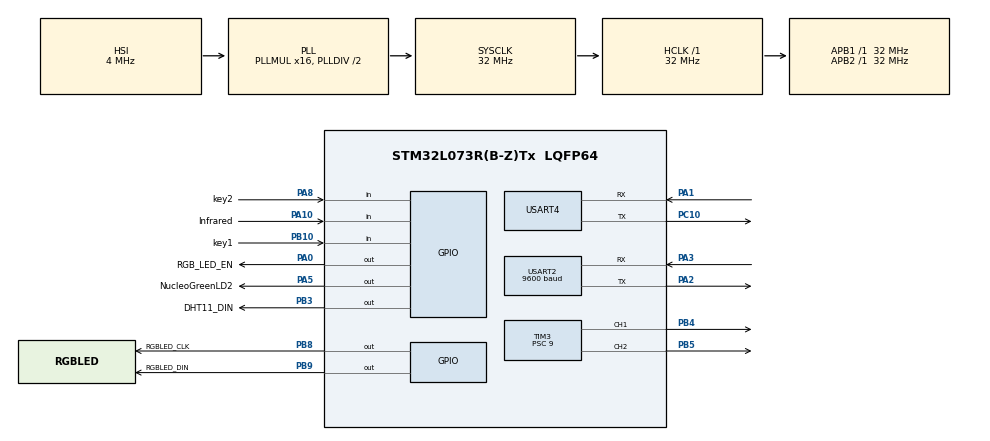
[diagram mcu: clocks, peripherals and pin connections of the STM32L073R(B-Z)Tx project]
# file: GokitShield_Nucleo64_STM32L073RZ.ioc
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Mcu.Family=STM32L0
Mcu.Name=STM32L073R(B-Z)Tx
Mcu.Package=LQFP64
NVIC.TIM6_DAC_IRQn=true\:3\:0\:true\:false\:true
NVIC.TIM7_IRQn=true\:3\:0\:true\:false\:true
NVIC.USART2_IRQn=true\:0\:0\:false\:false\:true
PA0.GPIO_Label=RGB_LED_EN
PA0.GPIO_Speed=GPIO_SPEED_FREQ_VERY_HIGH
PA0.Signal=GPIO_Output
PA1.Mode=Asynchronous
PA1.Signal=USART4_RX
PA10.GPIO_Label=Infrared
PA10.Signal=GPIO_Input
PA13.Mode=Serial_Wire
PA13.Signal=SYS_SWDIO
PA14.Mode=Serial_Wire
PA14.Signal=SYS_SWCLK
PA2.Mode=Asynchronous
PA2.Signal=USART2_TX
PA3.Mode=Asynchronous
PA3.Signal=USART2_RX
PA5.GPIO_Label=NucleoGreenLD2
PA5.GPIO_Speed=GPIO_SPEED_FREQ_VERY_HIGH
PA5.PinState=GPIO_PIN_RESET
PA5.Signal=GPIO_Output
PA8.GPIO_Label=key2
PA8.GPIO_PuPd=GPIO_PULLUP
PA8.Signal=GPIO_Input
PB10.GPIO_Label=key1
PB10.GPIO_PuPd=GPIO_PULLUP
PB10.Signal=GPIO_Input
PB3.GPIO_Label=DHT11_DIN
PB3.GPIO_Speed=GPIO_SPEED_FREQ_VERY_HIGH
PB3.Signal=GPIO_Output
PB4.Signal=S_TIM3_CH1
PB5.Signal=S_TIM3_CH2
PB8.GPIO_FM8=I2C_FASTMODEPLUS_PB8
PB8.GPIO_Label=RGBLED_CLK
PB8.GPIO_Speed=GPIO_SPEED_FREQ_VERY_HIGH
PB8.Signal=GPIO_Output
PB9.GPIO_FM9=I2C_FASTMODEPLUS_PB9
PB9.GPIO_Label=RGBLED_DIN
PB9.GPIO_Speed=GPIO_SPEED_FREQ_VERY_HIGH
PB9.Signal=GPIO_Output
PC10.Mode=Asynchronous
PC10.Signal=USART4_TX
ProjectManager.HeapSize=0x800
ProjectManager.StackSize=0x3000
ProjectManager.TargetToolchain=EWARM
RCC.ADCFreq_Value=4000000
RCC.AHBFreq_Value=32000000
RCC.APB1Freq_Value=32000000
RCC.APB1TimFreq_Value=32000000
RCC.APB2Freq_Value=32000000
RCC.APB2TimFreq_Value=32000000
RCC.HCLKFreq_Value=32000000
RCC.HSE_VALUE=8000000
RCC.HSI16_VALUE=16000000
RCC.HSI48_VALUE=48000000
RCC.HSIRCDiv=4
RCC.HSI_VALUE=4000000
RCC.LSE_VALUE=32768
RCC.MSI_VALUE=2097000
RCC.PLLMUL=RCC_PLLMUL_16
RCC.SYSCLKFreq_VALUE=32000000
RCC.SYSCLKSource=RCC_SYSCLKSOURCE_PLLCLK
RCC.VCOOutputFreq_Value=64000000
SH.S_TIM3_CH1.0=TIM3_CH1,PWM Generation1 CH1
SH.S_TIM3_CH2.0=TIM3_CH2,PWM Generation2 CH2
TIM3.Channel-PWM\ Generation2\ CH2=TIM_CHANNEL_2
TIM3.OCFastMode_PWM-PWM\ Generation1\ CH1=TIM_OCFAST_ENABLE
TIM3.OCFastMode_PWM-PWM\ Generation2\ CH2=TIM_OCFAST_ENABLE
TIM3.Period=3199
TIM3.Prescaler=9
TIM3.Pulse-PWM\ Generation2\ CH2=500
TIM6.Period=999
TIM6.Prescaler=31
TIM7.Period=999
TIM7.Prescaler=31
USART2.BaudRate=9600
USART2.WordLength=UART_WORDLENGTH_8B
USART4.WordLength=UART_WORDLENGTH_8B
VP_TIM3_VS_ClockSourceINT.Mode=Internal
VP_TIM6_VS_ClockSourceINT.Mode=Enable_Timer
VP_TIM7_VS_ClockSourceINT.Mode=Enable_Timer
board=GokitShield_Nucleo64_STM32L073RZ

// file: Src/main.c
/**
  ******************************************************************************
  * File Name          : main.c
  * Description        : Main program body
  ******************************************************************************
  *
  * COPYRIGHT(c) 2016 STMicroelectronics
  *
  * Redistribution and use in source and binary forms, with or without modification,
  * are permitted provided that the following conditions are met:
  *   1. Redistributions of source code must retain the above copyright notice,
  *      this list of conditions and the following disclaimer.
  *   2. Redistributions in binary form must reproduce the above copyright notice,
  *      this list of conditions and the following disclaimer in the documentation
  *      and/or other materials provided with the distribution.
  *   3. Neither the name of STMicroelectronics nor the names of its contributors
  *      may be used to endorse or promote products derived from this software
  *      without specific prior written permission.
  *
  * THIS SOFTWARE IS PROVIDED BY THE COPYRIGHT HOLDERS AND CONTRIBUTORS "AS IS"
  * AND ANY EXPRESS OR IMPLIED WARRANTIES, INCLUDING, BUT NOT LIMITED TO, THE
  * IMPLIED WARRANTIES OF MERCHANTABILITY AND FITNESS FOR A PARTICULAR PURPOSE ARE
  * DISCLAIMED. IN NO EVENT SHALL THE COPYRIGHT HOLDER OR CONTRIBUTORS BE LIABLE
  * FOR ANY DIRECT, INDIRECT, INCIDENTAL, SPECIAL, EXEMPLARY, OR CONSEQUENTIAL
  * DAMAGES (INCLUDING, BUT NOT LIMITED TO, PROCUREMENT OF SUBSTITUTE GOODS OR
  * SERVICES; LOSS OF USE, DATA, OR PROFITS; OR BUSINESS INTERRUPTION) HOWEVER
  * CAUSED AND ON ANY THEORY OF LIABILITY, WHETHER IN CONTRACT, STRICT LIABILITY,
  * OR TORT (INCLUDING NEGLIGENCE OR OTHERWISE) ARISING IN ANY WAY OUT OF THE USE
  * OF THIS SOFTWARE, EVEN IF ADVISED OF THE POSSIBILITY OF SUCH DAMAGE.
  *
  ******************************************************************************
  */
#include "main.h"
#include "stm32l0xx_hal.h"
#include "tim.h"
#include "usart.h"
#include "gpio.h"

/* USER CODE BEGIN Includes */
//date:2016-12-25
//support:bigfanofloT，QQ：1303428517

#include "stdio.h"
#include "hal_key.h"
#include "Hal_rgb_led.h"
#include "Hal_infrared.h"
#include "Hal_motor.h"
#include "Hal_temp_hum.h"
#include "gizwits_product.h"
#include "gizwits_protocol.h"
/* USER CODE END Includes */

/* USER CODE BEGIN PV */
/* Private variables ---------------------------------------------------------*/
#define GPIO_KEY_NUM 2                                  ///< 定义按键成员总数
keyTypedef_t singleKey[GPIO_KEY_NUM];                   ///< 定义单个按键成员数组指针
keysTypedef_t keys;                                     ///< 定义总的按键模块结构体指针

/** 用户区当前设备状态结构体*/
dataPoint_t currentDataPoint;

uint8_t RxData;

/* USER CODE END PV */

void SystemClock_Config(void);
void Error_Handler(void);

/* USER CODE BEGIN PFP */
/* Private function prototypes -----------------------------------------------*/

/* USER CODE END PFP */

/* USER CODE BEGIN 0 */

uint8_t temperature=0,humidity=0;

/**
* 用户初始化函数

* 在该函数中完成了外设驱动初始化以及用户相关数据的初始
* @param none
* @return none
* @note 开发者可在此函数内添加新的驱动初始及状态初始化
*/
void userInit(void)
{
    uartInit(); //串口初始化
    timerInit();
    rgbLedInit();//RGB LED初始化
    dht11Init(); //温湿度传感器DHT11初始化
    motorInit();
    motorStatus(0);
    memset((uint8_t*)&currentDataPoint, 0, sizeof(dataPoint_t));

}

/**
* 用户数据获取

* 此处需要用户实现除可写数据点之外所有传感器数据的采集,可自行定义采集频率和设计数据过滤算法
* @param none
* @return none
*/
#define SAMPLING_TIME_MAX 1000
void userHandle(void)
{
    /*
    currentDataPoint.valueInfrared = ;//Add Sensor Data Collection
    currentDataPoint.valueTemperature = ;//Add Sensor Data Collection
    currentDataPoint.valueHumidity = ;//Add Sensor Data Collection
    currentDataPoint.valueAlert_1 = ;//Add Sensor Data Collection
    currentDataPoint.valueAlert_2 = ;//Add Sensor Data Collection
    currentDataPoint.valueFault_LED = ;//Add Sensor Data Collection
    currentDataPoint.valueFault_Motor = ;//Add Sensor Data Collection
    currentDataPoint.valueFault_TemHum = ;//Add Sensor Data Collection
    currentDataPoint.valueFault_IR = ;//Add Sensor Data Collection

    */

    uint8_t ret  = 0;
    static uint32_t thLastTimer = 0;

    currentDataPoint.valueInfrared = irHandle();

    if((gizGetTimerCount()-thLastTimer) > SAMPLING_TIME_MAX)
    {
        ret = dht11Read((uint8_t *)&currentDataPoint.valueTemperature, (uint8_t *)&currentDataPoint.valueHumidity);
        if(ret != 0)
        {
            printf("Failed to read DHT11\r\n");
        }

        thLastTimer = gizGetTimerCount();
        LD2_Toggle();
    }

    currentDataPoint.valueAlert_1 = 0;//Add Sensor Data Collection
    currentDataPoint.valueAlert_2 = 0;//Add Sensor Data Collection
    currentDataPoint.valueFault_LED = 0;//Add Sensor Data Collection
    currentDataPoint.valueFault_Motor = 0;//Add Sensor Data Collection
    currentDataPoint.valueFault_TemHum =0 ;//Add Sensor Data Collection
    currentDataPoint.valueFault_IR = 0;//Add Sensor Data Collection

}

/**
* key1按键短按处理
* @param none
* @return none
*/
void key1ShortPress(void)
{
   printf("KEY1 PRESS ,Production Mode\n");
   gizwitsSetMode(WIFI_PRODUCTION_TEST);
}

/**
* key1按键长按处理
* @param none
* @return none
*/
void key1LongPress(void)
{
   printf("KEY1 PRESS LONG ,Wifi Reset\n");
   gizwitsSetMode(WIFI_RESET_MODE);

}

/**
* key2按键短按处理
* @param none
* @return none
*/
void key2ShortPress(void)
{
    printf("KEY2 PRESS ,Soft AP mode\n");
   ledRgbControl(50,0,0);//red LED
   gizwitsSetMode(WIFI_SOFTAP_MODE);
}

/**
* key2按键长按处理
* @param none
* @return none
*/
void key2LongPress(void)
{
    //AirLink mode
    printf("KEY2 PRESS LONG ,AirLink mode\n");
    ledRgbControl(0,50,0);//green LED
    gizwitsSetMode(WIFI_AIRLINK_MODE);
}

/**
* 按键初始化
* @param none
* @return none
*/

void keyInit(void)
{
    singleKey[0] = keyInitOne(key1_GPIO_Port, key1_Pin, key1ShortPress, key1LongPress);
    singleKey[1] = keyInitOne(key2_GPIO_Port, key2_Pin, key2ShortPress, key2LongPress);
    keys.singleKey = (keyTypedef_t *)&singleKey;
    keyParaInit(&keys);
}
/* USER CODE END 0 */

int main(void)
{

  /* MCU Configuration----------------------------------------------------------*/

  /* Reset of all peripherals, Initializes the Flash interface and the Systick. */
  HAL_Init();

  /* Configure the system clock */
  SystemClock_Config();

  /* Initialize all configured peripherals */
  MX_GPIO_Init();
  MX_USART2_UART_Init();
  MX_USART4_UART_Init();
  MX_TIM6_Init();
  MX_TIM7_Init();
  MX_TIM3_Init();

  /* USER CODE BEGIN 2 */

   userInit();
   keyInit();
   gizwitsInit();

  printf("MCU Init Success \n");

  /* USER CODE END 2 */

  /* Infinite loop */
  while (1)
  {

  /* USER CODE BEGIN 3 */

           userHandle();

           gizwitsHandle((dataPoint_t *)&currentDataPoint);

  }
  /* USER CODE END 3 */

}

/** System Clock Configuration
*/
void SystemClock_Config(void)
{

  RCC_OscInitTypeDef RCC_OscInitStruct;
  RCC_ClkInitTypeDef RCC_ClkInitStruct;
  RCC_PeriphCLKInitTypeDef PeriphClkInit;

    /**Configure the main internal regulator output voltage
    */
  __HAL_PWR_VOLTAGESCALING_CONFIG(PWR_REGULATOR_VOLTAGE_SCALE1);

    /**Initializes the CPU, AHB and APB busses clocks
    */
  RCC_OscInitStruct.OscillatorType = RCC_OSCILLATORTYPE_HSI;
  RCC_OscInitStruct.HSIState = RCC_HSI_DIV4;
  RCC_OscInitStruct.HSICalibrationValue = 16;
  RCC_OscInitStruct.PLL.PLLState = RCC_PLL_ON;
  RCC_OscInitStruct.PLL.PLLSource = RCC_PLLSOURCE_HSI;
  RCC_OscInitStruct.PLL.PLLMUL = RCC_PLLMUL_16;
  RCC_OscInitStruct.PLL.PLLDIV = RCC_PLLDIV_2;
  if (HAL_RCC_OscConfig(&RCC_OscInitStruct) != HAL_OK)
  {
    Error_Handler();
  }

    /**Initializes the CPU, AHB and APB busses clocks
    */
  RCC_ClkInitStruct.ClockType = RCC_CLOCKTYPE_HCLK|RCC_CLOCKTYPE_SYSCLK
                              |RCC_CLOCKTYPE_PCLK1|RCC_CLOCKTYPE_PCLK2;
  RCC_ClkInitStruct.SYSCLKSource = RCC_SYSCLKSOURCE_PLLCLK;
  RCC_ClkInitStruct.AHBCLKDivider = RCC_SYSCLK_DIV1;
  RCC_ClkInitStruct.APB1CLKDivider = RCC_HCLK_DIV1;
  RCC_ClkInitStruct.APB2CLKDivider = RCC_HCLK_DIV1;

  if (HAL_RCC_ClockConfig(&RCC_ClkInitStruct, FLASH_LATENCY_1) != HAL_OK)
  {
    Error_Handler();
  }

  PeriphClkInit.PeriphClockSelection = RCC_PERIPHCLK_USART2;
  PeriphClkInit.Usart2ClockSelection = RCC_USART2CLKSOURCE_PCLK1;
  if (HAL_RCCEx_PeriphCLKConfig(&PeriphClkInit) != HAL_OK)
  {
    Error_Handler();
  }

    /**Configure the Systick interrupt time
    */
  HAL_SYSTICK_Config(HAL_RCC_GetHCLKFreq()/1000);

    /**Configure the Systick
    */
  HAL_SYSTICK_CLKSourceConfig(SYSTICK_CLKSOURCE_HCLK);

  /* SysTick_IRQn interrupt configuration */
  HAL_NVIC_SetPriority(SysTick_IRQn, 1, 0);
}

void Error_Handler(void)
{
  while(1)
  {
  }
}

/************************ (C) COPYRIGHT STMicroelectronics *****END OF FILE****/
